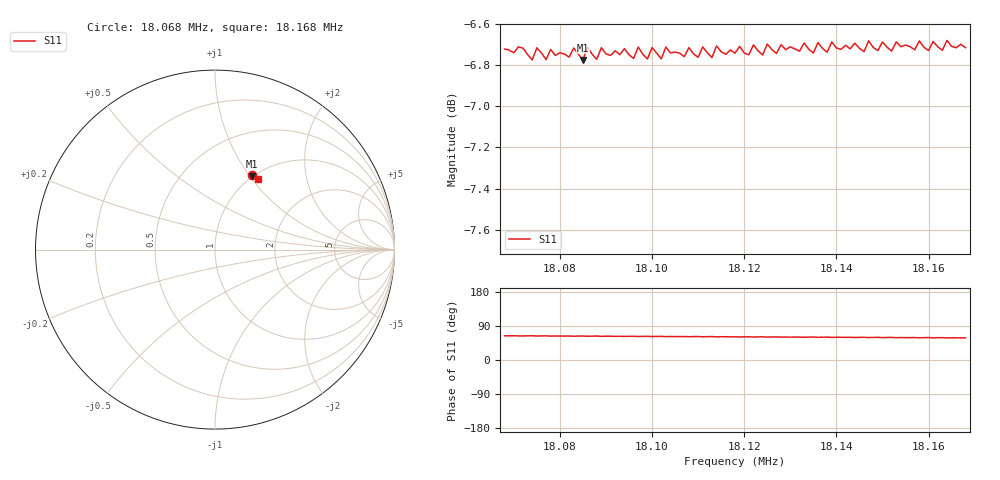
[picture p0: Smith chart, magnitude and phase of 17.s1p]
# Hz S RI R 50
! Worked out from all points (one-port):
!   101 points, 18.068 MHz to 18.168 MHz, reference 50 ohm
!   lowest |S11| = -6.8 dB at 18.085 MHz (marker M1), VSWR 2.69, Z = 49.5 + j51.3 ohm
!   |S11| at or under -10 dB: nowhere
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1.8068e7  0.2036 0.4138
1.8072e7  0.2066 0.4126
1.8074e7  0.2016 0.4118
1.8075e7  0.2079 0.4121
1.8077e7  0.203 0.4111
1.8078e7  0.2087 0.4112
1.8081e7  0.2077 0.4104
1.8083e7  0.211 0.4104
1.8085e7  0.206 0.4095
1.8086e7  0.2123 0.41
1.8088e7  0.207 0.4092
1.8089e7  0.2137 0.4091
1.8093e7  0.2113 0.4084
1.8106e7  0.2175 0.4055
1.8118e7  0.2213 0.4035
1.8131e7  0.2278 0.4011
1.8143e7  0.2314 0.3991
1.8146e7  0.2312 0.3983
1.8147e7  0.237 0.3982
1.8149e7  0.232 0.3982
1.815e7  0.238 0.3972
1.8156e7  0.2375 0.3961
1.8158e7  0.2412 0.3956
1.816e7  0.2362 0.3957
1.8161e7  0.2423 0.3948
1.8163e7  0.2373 0.3951
1.8164e7  0.2436 0.3943
1.8168e7  0.241 0.3937
